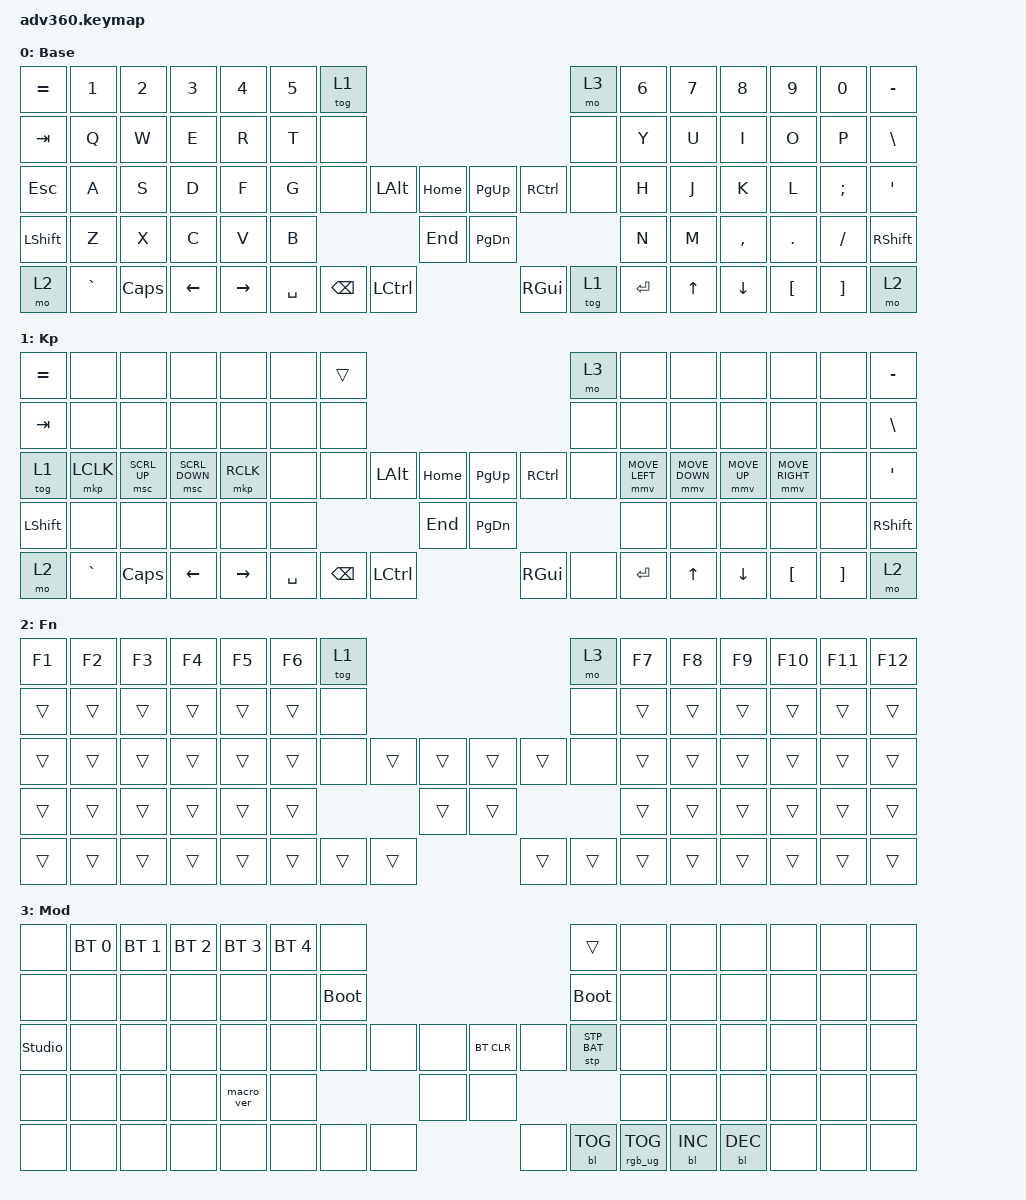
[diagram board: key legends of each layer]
#include <behaviors.dtsi>
#include <dt-bindings/zmk/keys.h>
#include <dt-bindings/zmk/bt.h>
#include <dt-bindings/zmk/rgb.h>
#include <dt-bindings/zmk/stp.h>
#include <dt-bindings/zmk/backlight.h>

#define ZMK_POINTING_DEFAULT_MOVE_VAL 800  // default: 600

#include <dt-bindings/zmk/pointing.h>

/ {
    behaviors {
      #include "macros.dtsi"
      #include "version.dtsi"

      hm: homerow_mods {
          compatible = "zmk,behavior-hold-tap";
          label = "HOMEROW_MODS";
          #binding-cells = <2>;
          tapping-term-ms = <200>;
          quick_tap_ms = <175>;
          flavor = "tap-preferred";
          bindings = <&kp>, <&kp>;
      };
    };

  keymap {
    compatible = "zmk,keymap";

    default_layer {
      display-name = "Base";
      bindings = <
        &kp EQUAL &kp N1    &kp N2   &kp N3   &kp N4     &kp N5 &tog 1                                                           &mo 3 &kp N6 &kp N7 &kp N8    &kp N9   &kp N0   &kp MINUS
        &kp TAB   &kp Q     &kp W    &kp E    &kp R      &kp T  &none                                                            &none &kp Y  &kp U  &kp I     &kp O    &kp P    &kp BSLH
        &kp ESC   &kp A     &kp S    &kp D    &kp F      &kp G  &none           &kp LALT &kp HOME  &kp PG_UP  &kp RCTRL          &none &kp H  &kp J  &kp K     &kp L    &kp SEMI &kp SQT
        &kp LSHFT &kp Z     &kp X    &kp C    &kp V      &kp B                           &kp END   &kp PG_DN                           &kp N  &kp M  &kp COMMA &kp DOT  &kp FSLH &kp RSHFT
        &mo 2     &kp GRAVE &kp CAPS &kp LEFT &kp RIGHT               &kp SPACE &kp BSPC &kp LCTRL &kp RGUI   &tog 1  &kp ENTER               &kp UP &kp DOWN  &kp LBKT &kp RBKT &mo 2
      >;
    };
    keypad {
      display-name = "Kp";
      bindings = <
        &kp EQUAL &none     &none         &none           &none      &none  &trans                                                           &mo 3 &none          &none           &none           &none           &none     &kp MINUS
        &kp TAB   &none     &none         &none           &none      &none  &none                                                            &none &none          &none           &none           &none           &none     &kp BSLH
        &tog 1    &mkp LCLK &msc SCRL_UP  &msc SCRL_DOWN  &mkp RCLK  &none  &none          &kp LALT &kp HOME  &kp PG_UP  &kp RCTRL           &none &mmv MOVE_LEFT &mmv MOVE_DOWN  &mmv MOVE_UP    &mmv MOVE_RIGHT &none     &kp SQT
        &kp LSHFT &none     &none         &none           &none      &none                          &kp END   &kp PG_DN                            &none          &none           &none           &none           &none     &kp RSHFT
        &mo 2     &kp GRAVE &kp CAPS      &kp LEFT        &kp RIGHT              &kp SPACE &kp BSPC &kp LCTRL &kp RGUI   &none  &kp ENTER                         &kp UP          &kp DOWN        &kp LBKT        &kp RBKT  &mo 2
      >;
    };
    fn {
      display-name = "Fn";
      bindings = <
        &kp F1 &kp F2 &kp F3 &kp F4 &kp F5 &kp F6 &tog 1                                           &mo 3 &kp F7 &kp F8 &kp F9 &kp F10 &kp F11 &kp F12
        &trans &trans &trans &trans &trans &trans  &none                                           &none &trans &trans &trans &trans  &trans  &trans
        &trans &trans &trans &trans &trans &trans  &none        &trans &trans &trans &trans        &none &trans &trans &trans &trans  &trans  &trans
        &trans &trans &trans &trans &trans &trans                      &trans &trans                     &trans &trans &trans &trans  &trans  &trans
        &trans &trans &trans &trans &trans               &trans &trans &trans &trans &trans &trans              &trans &trans &trans  &trans  &trans
      >;
    };
    mod {
      display-name = "Mod";
      bindings = <
        &none &bt BT_SEL 0 &bt BT_SEL 1 &bt BT_SEL 2 &bt BT_SEL 3 &bt BT_SEL 4 &none                                                                     &trans                 &none        &none        &none        &none &none &none
        &none &none        &none        &none        &none        &none        &bootloader                                                               &bootloader            &none        &none        &none        &none &none &none
        &studio_unlock &none        &none        &none        &none        &none        &none                   &none &none &bt BT_CLR &none                      &stp STP_BAT &none        &none        &none        &none &none &none
        &none &none        &none        &none        &macro_ver   &none                                      &none &none                                                        &none        &none        &none        &none &none &none
        &none &none        &none        &none        &none                                       &none &none &none &none      &bl BL_TOG &rgb_ug RGB_TOG                                     &bl BL_INC   &bl BL_DEC   &none &none &none
      >;
    };
  };
};
